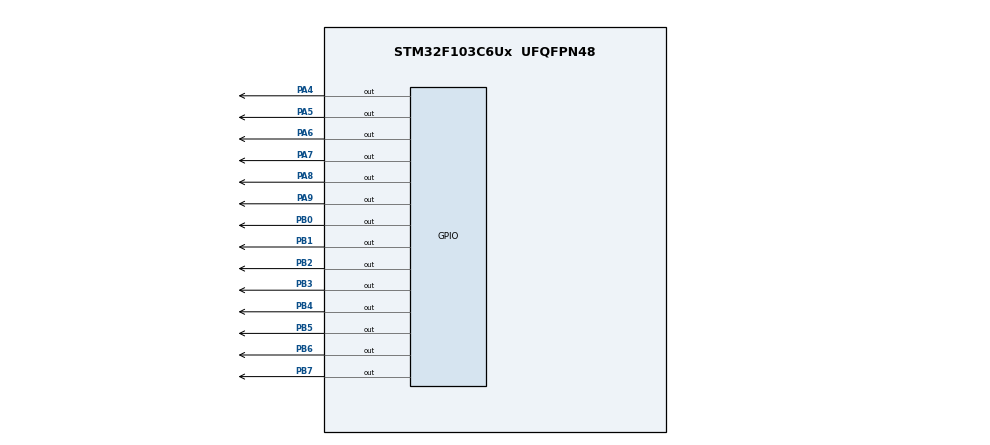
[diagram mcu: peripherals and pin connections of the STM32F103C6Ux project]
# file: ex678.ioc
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Mcu.Family=STM32F1
Mcu.Name=STM32F103C6Ux
Mcu.Package=UFQFPN48
NVIC.PriorityGroup=NVIC_PRIORITYGROUP_4
NVIC.TIM2_IRQn=true\:0\:0\:false\:false\:true\:true\:true
PA4.Signal=GPIO_Output
PA5.Signal=GPIO_Output
PA6.Signal=GPIO_Output
PA7.Signal=GPIO_Output
PA8.Signal=GPIO_Output
PA9.Signal=GPIO_Output
PB0.Signal=GPIO_Output
PB1.Signal=GPIO_Output
PB2.Signal=GPIO_Output
PB3.Signal=GPIO_Output
PB4.Signal=GPIO_Output
PB5.Signal=GPIO_Output
PB6.Signal=GPIO_Output
PB7.Signal=GPIO_Output
ProjectManager.HeapSize=0x200
ProjectManager.StackSize=0x400
ProjectManager.TargetToolchain=STM32CubeIDE
RCC.APB1Freq_Value=8000000
RCC.APB2Freq_Value=8000000
TIM2.Period=9
TIM2.Prescaler=7999
VP_SYS_VS_ND.Mode=No_Debug
VP_TIM2_VS_ClockSourceINT.Mode=Internal
board=custom

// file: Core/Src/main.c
/* USER CODE BEGIN Header */
/**
  ******************************************************************************
  * @file           : main.c
  * @brief          : Main program body
  ******************************************************************************
  * @attention
  *
  * Copyright (c) 2022 STMicroelectronics.
  * All rights reserved.
  *
  * This software is licensed under terms that can be found in the LICENSE file
  * in the root directory of this software component.
  * If no LICENSE file comes with this software, it is provided AS-IS.
  *
  ******************************************************************************
  */
/* USER CODE END Header */
#include "main.h"

/* USER CODE BEGIN Includes */
#include "softwaretimer.h"
#include"code.h"
/* USER CODE END Includes */

/* USER CODE BEGIN PD */
#define END         0
#define RUN_TIME    1000
/* USER CODE END PD */

TIM_HandleTypeDef htim2;

/* USER CODE BEGIN PV */
const int MAX_LED = 4;
int counter = 1000;
int index_led = 0;
int led_buffer[4] = {1, 2, 3, 4};
int hour = 15, minute = 8, second = 50;
/* USER CODE END PV */

void SystemClock_Config(void);

static void MX_GPIO_Init(void);

static void MX_TIM2_Init(void);

/* USER CODE BEGIN 0 */

void updateClockBuffer() {
    led_buffer[0] = hour / 10;
    led_buffer[1] = hour % 10;
    led_buffer[2] = minute / 10;
    led_buffer[3] = minute % 10;
}
/* USER CODE END 0 */

int main(void) {

    /* MCU Configuration--------------------------------------------------------*/

    /* Reset of all peripherals, Initializes the Flash interface and the Systick. */
    HAL_Init();

    /* Configure the system clock */
    SystemClock_Config();

    /* Initialize all configured peripherals */
    MX_GPIO_Init();
    MX_TIM2_Init();
    /* USER CODE BEGIN 2 */
    HAL_TIM_Base_Start_IT(&htim2);
    /* USER CODE END 2 */

    /* Infinite loop */
    /* USER CODE BEGIN WHILE */
    setTimer0(RUN_TIME);
    while (1) {
        if (timer0_flag == 1) {
            if (index_led == 0) {
                second++;
                if (second >= 60) {
                    second = 0;
                    minute++;
                }
                if (minute >= 60) {
                    minute = 0;
                    hour++;
                }
                if (hour >= 24) {
                    hour = 0;
                }
                updateClockBuffer();
            }
            HAL_GPIO_TogglePin(GPIOA, GPIO_PIN_5);
            if (index_led == 2 || index_led == 0) {
                HAL_GPIO_TogglePin(GPIOA, GPIO_PIN_4);
            }
//            update7SEG(index_led++);
            enable7SEG(index_led);
            display7SEG(led_buffer[index_led++]);
            if (index_led > 3) {
                index_led = 0;
            }
            setTimer0(RUN_TIME);
        }
    }
}

void SystemClock_Config(void) {
    RCC_OscInitTypeDef RCC_OscInitStruct = {0};
    RCC_ClkInitTypeDef RCC_ClkInitStruct = {0};

    /** Initializes the RCC Oscillators according to the specified parameters
    * in the RCC_OscInitTypeDef structure.
    */
    RCC_OscInitStruct.OscillatorType = RCC_OSCILLATORTYPE_HSI;
    RCC_OscInitStruct.HSIState = RCC_HSI_ON;
    RCC_OscInitStruct.HSICalibrationValue = RCC_HSICALIBRATION_DEFAULT;
    RCC_OscInitStruct.PLL.PLLState = RCC_PLL_NONE;
    if (HAL_RCC_OscConfig(&RCC_OscInitStruct) != HAL_OK) {
        Error_Handler();
    }

    /** Initializes the CPU, AHB and APB buses clocks
    */
    RCC_ClkInitStruct.ClockType = RCC_CLOCKTYPE_HCLK | RCC_CLOCKTYPE_SYSCLK
                                  | RCC_CLOCKTYPE_PCLK1 | RCC_CLOCKTYPE_PCLK2;
    RCC_ClkInitStruct.SYSCLKSource = RCC_SYSCLKSOURCE_HSI;
    RCC_ClkInitStruct.AHBCLKDivider = RCC_SYSCLK_DIV1;
    RCC_ClkInitStruct.APB1CLKDivider = RCC_HCLK_DIV1;
    RCC_ClkInitStruct.APB2CLKDivider = RCC_HCLK_DIV1;

    if (HAL_RCC_ClockConfig(&RCC_ClkInitStruct, FLASH_LATENCY_0) != HAL_OK) {
        Error_Handler();
    }
}

static void MX_TIM2_Init(void) {

    TIM_ClockConfigTypeDef sClockSourceConfig = {0};
    TIM_MasterConfigTypeDef sMasterConfig = {0};

    htim2.Instance = TIM2;
    htim2.Init.Prescaler = 7999;
    htim2.Init.CounterMode = TIM_COUNTERMODE_UP;
    htim2.Init.Period = 9;
    htim2.Init.ClockDivision = TIM_CLOCKDIVISION_DIV1;
    htim2.Init.AutoReloadPreload = TIM_AUTORELOAD_PRELOAD_DISABLE;
    if (HAL_TIM_Base_Init(&htim2) != HAL_OK) {
        Error_Handler();
    }
    sClockSourceConfig.ClockSource = TIM_CLOCKSOURCE_INTERNAL;
    if (HAL_TIM_ConfigClockSource(&htim2, &sClockSourceConfig) != HAL_OK) {
        Error_Handler();
    }
    sMasterConfig.MasterOutputTrigger = TIM_TRGO_RESET;
    sMasterConfig.MasterSlaveMode = TIM_MASTERSLAVEMODE_DISABLE;
    if (HAL_TIMEx_MasterConfigSynchronization(&htim2, &sMasterConfig) != HAL_OK) {
        Error_Handler();
    }

}

static void MX_GPIO_Init(void) {
    GPIO_InitTypeDef GPIO_InitStruct = {0};

    /* GPIO Ports Clock Enable */
    __HAL_RCC_GPIOA_CLK_ENABLE();
    __HAL_RCC_GPIOB_CLK_ENABLE();

    /*Configure GPIO pin Output Level */
    HAL_GPIO_WritePin(GPIOA, GPIO_PIN_4|GPIO_PIN_5|GPIO_PIN_6|GPIO_PIN_7
                              |GPIO_PIN_8|GPIO_PIN_9, GPIO_PIN_RESET);

    /*Configure GPIO pin Output Level */
    HAL_GPIO_WritePin(GPIOB, GPIO_PIN_0|GPIO_PIN_1|GPIO_PIN_2|GPIO_PIN_3
                             |GPIO_PIN_4|GPIO_PIN_5|GPIO_PIN_6|GPIO_PIN_7, GPIO_PIN_RESET);

    /*Configure GPIO pins : DOT_Pin LED_RED_Pin EN0_Pin EN1_Pin
                             EN2_Pin EN3_Pin */
    GPIO_InitStruct.Pin = GPIO_PIN_4|GPIO_PIN_5|GPIO_PIN_6|GPIO_PIN_7
                              |GPIO_PIN_8|GPIO_PIN_9;
    GPIO_InitStruct.Mode = GPIO_MODE_OUTPUT_PP;
    GPIO_InitStruct.Pull = GPIO_NOPULL;
    GPIO_InitStruct.Speed = GPIO_SPEED_FREQ_LOW;
    HAL_GPIO_Init(GPIOA, &GPIO_InitStruct);

    /*Configure GPIO pins : SEG0_Pin SEG1_Pin SEG2_Pin SEG3_Pin
                             SEG4_Pin SEG5_Pin SEG6_Pin */
    GPIO_InitStruct.Pin = GPIO_PIN_0|GPIO_PIN_1|GPIO_PIN_2|GPIO_PIN_3
                             |GPIO_PIN_4|GPIO_PIN_5|GPIO_PIN_6|GPIO_PIN_7;
    GPIO_InitStruct.Mode = GPIO_MODE_OUTPUT_PP;
    GPIO_InitStruct.Pull = GPIO_NOPULL;
    GPIO_InitStruct.Speed = GPIO_SPEED_FREQ_LOW;
    HAL_GPIO_Init(GPIOB, &GPIO_InitStruct);

}

/* USER CODE BEGIN 4 */
void HAL_TIM_PeriodElapsedCallback(TIM_HandleTypeDef *htim) {
    timer_run();
}
/* USER CODE END 4 */

void Error_Handler(void) {
    __disable_irq();
    while (1) {
    }
}
